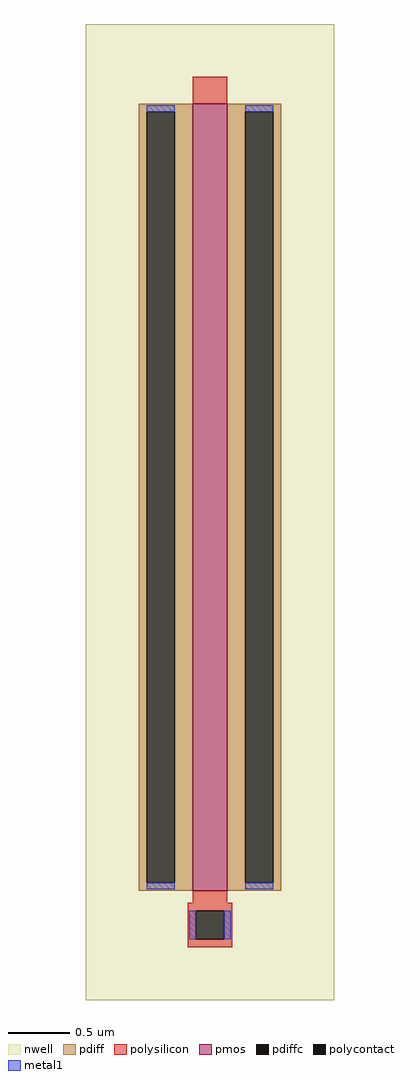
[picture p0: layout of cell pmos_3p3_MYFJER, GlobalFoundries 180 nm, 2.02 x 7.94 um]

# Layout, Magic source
magic
tech gf180mcuC
magscale 1 10
<< nwell >>
rect -202 -794 202 794
<< pmos >>
rect -28 -616 28 664
<< pdiff >>
rect -116 651 -28 664
rect -116 -603 -103 651
rect -57 -603 -28 651
rect -116 -616 -28 -603
rect 28 651 116 664
rect 28 -603 57 651
rect 103 -603 116 651
rect 28 -616 116 -603
<< pdiffc >>
rect -103 -603 -57 651
rect 57 -603 103 651
<< polysilicon >>
rect -28 664 28 708
rect -28 -636 28 -616
rect -36 -649 36 -636
rect -36 -695 -23 -649
rect 23 -695 36 -649
rect -36 -708 36 -695
<< polycontact >>
rect -23 -695 23 -649
<< metal1 >>
rect -103 651 -57 662
rect -103 -614 -57 -603
rect 57 651 103 662
rect 57 -614 103 -603
rect -34 -695 -23 -649
rect 23 -695 34 -649
<< properties >>
string gencell pmos_3p3
string library gf180mcu
string parameters w 6.4 l 0.280 m 1 nf 1 diffcov 100 polycov 100 guard 0 glc 0 grc 0 gtc 0 gbc 0 tbcov 100 rlcov 100 topc 0 botc 1 poverlap 0 doverlap 1 lmin 0.28 wmin 0.22 full_metal 0 compatible {pmos_3p3 pmos_6p0}
<< end >>
